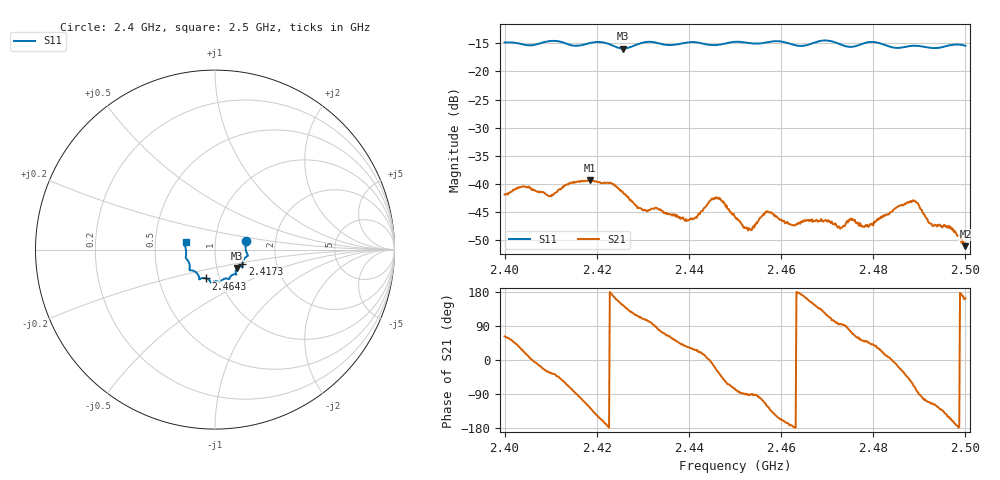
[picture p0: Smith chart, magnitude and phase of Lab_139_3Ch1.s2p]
# Hz S RI R 50
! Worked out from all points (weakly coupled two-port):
!   601 points, 2.4 GHz to 2.5 GHz, reference 50 ohm
!   highest |S21| = -39.33 dB at 2.4185 GHz (marker M1); lowest = -51.0 dB at 2.5 GHz (marker M2)
!   lowest |S11| = -15.9 dB at 2.4257 GHz (marker M3), VSWR 1.38, Z = 62.5 - j13.1 ohm
!   |S11| at or under -10 dB: start of sweep to end of sweep
!   S12 and S22 are empty: the file has one direction only
!   S11 on the Smith chart (normalised r, x): 2.4 GHz: 1.41, +0.14; 2.4173 GHz: 1.34, -0.23; 2.4643 GHz: 0.86, -0.28; 2.5 GHz: 0.72, +0.06
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2.4e9  0.1734 0.0493  0.00375 0.00714  0 0  0 0
2.404167e9  0.1714 0.0234  0.00886 0.00359  0 0  0 0
2.41e9  0.1835 -0.0325  0.00656 -0.00441  0 0  0 0
2.416667e9  0.1535 -0.0747  -0.00224 -0.0105  0 0  0 0
2.417333e9  0.1525 -0.0823  -0.00384 -0.0099  0 0  0 0
2.4185e9  0.1527 -0.0926  -0.0063 -0.00878  0 0  0 0
2.425667e9  0.1228 -0.1018  -0.00692 0.00489  0 0  0 0
2.429333e9  0.1167 -0.1332  -0.00231 0.00567  0 0  0 0
2.433333e9  0.1131 -0.1372  0.001 0.00591  0 0  0 0
2.439667e9  0.0798 -0.162  0.00392 0.00265  0 0  0 0
2.446167e9  0.0465 -0.1655  0.00659 -0.00376  0 0  0 0
2.45e9  0.0294 -0.1808  0.00122 -0.00495  0 0  0 0
2.453167e9  0.0165 -0.1773  -0.000108 -0.00398  0 0  0 0
2.457e9  -0.0133 -0.1809  -0.00306 -0.00487  0 0  0 0
2.464333e9  -0.0498 -0.1607  -0.0046 0.00052  0 0  0 0
2.466667e9  -0.0759 -0.1596  -0.00424 0.00238  0 0  0 0
2.478e9  -0.1348 -0.1159  0.00271 0.00316  0 0  0 0
2.483333e9  -0.1407 -0.0901  0.00531 0.000706  0 0  0 0
2.489e9  -0.1625 -0.0456  0.0023 -0.00673  0 0  0 0
2.4925e9  -0.1606 -0.02  -0.00187 -0.00402  0 0  0 0
2.496833e9  -0.1694 0.025  -0.00364 -0.00169  0 0  0 0
2.5e9  -0.1637 0.0418  -0.00269 0.000816  0 0  0 0
